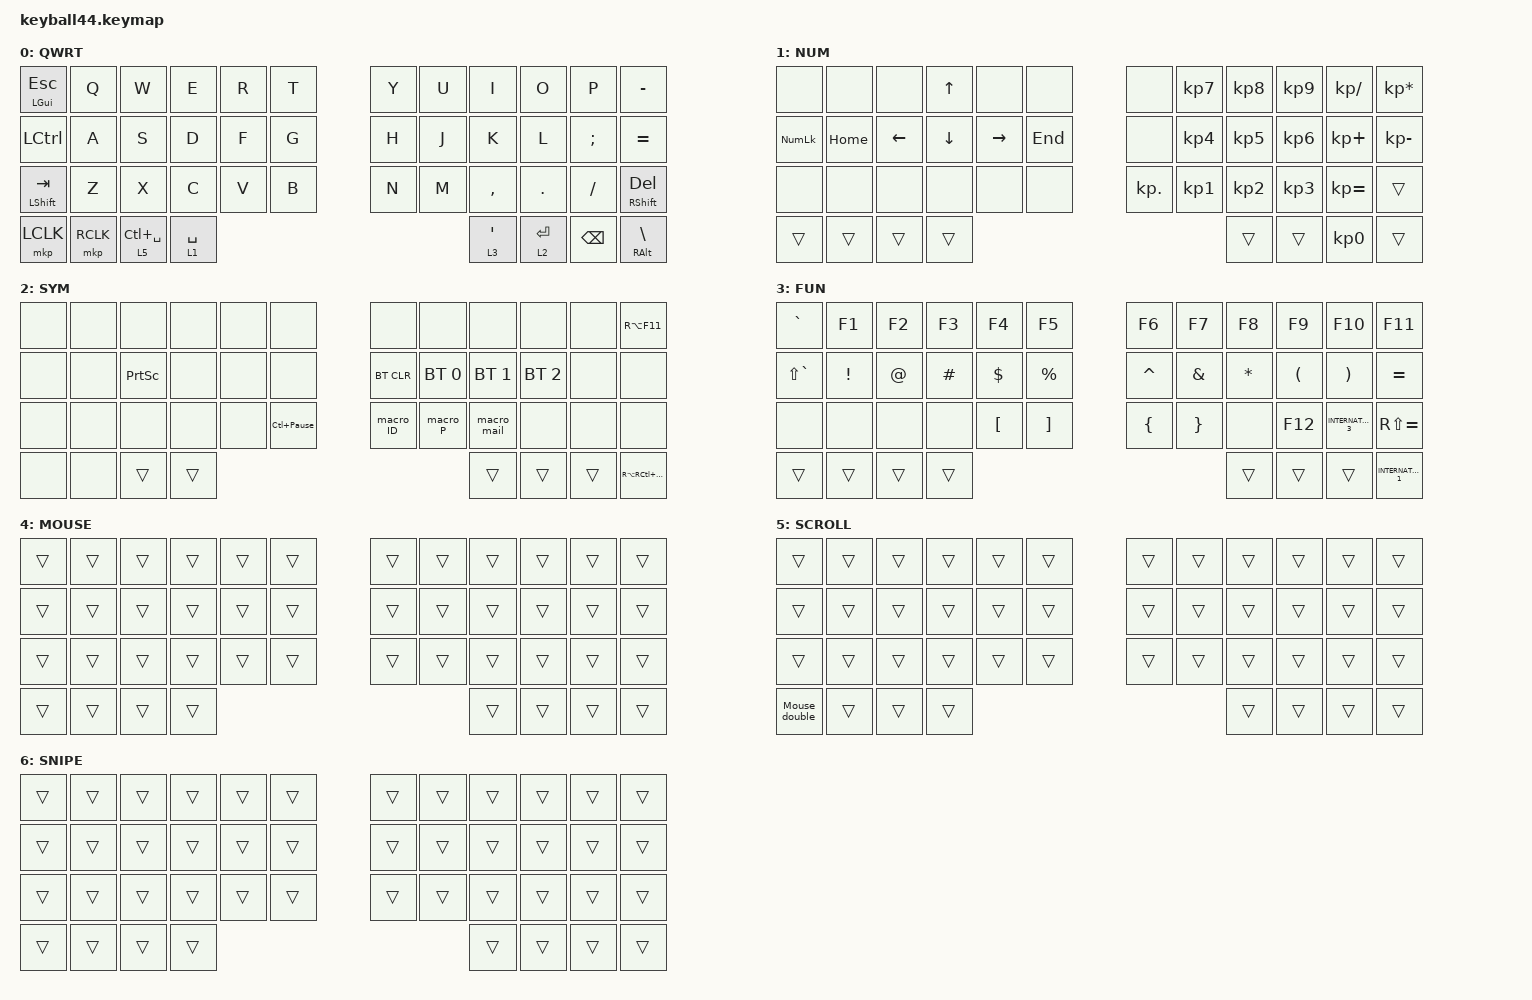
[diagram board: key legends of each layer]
#define DEFAULT 0
#define NUM     1
#define SYM     2
#define FUN     3
#define MOUSE   4
#define SCROLL  5
#define SNIPE   6

#include <behaviors/mouse_keys.dtsi>
#include <dt-bindings/zmk/mouse.h>
#include <input/processors.dtsi>
#include <behaviors.dtsi>
#include <dt-bindings/zmk/bt.h>
#include <dt-bindings/zmk/keys.h>
#include <dt-bindings/zmk/pointing.h>

&mkp_input_listener { input-processors = <&zip_temp_layer MOUSE 200>; };

&lt {
    tapping-term-ms = <240>;
    flavor = "balanced";
    quick-tap-ms = <150>;
};

&mt {
    //tapping-term-ms = <200>;

    tapping-term-ms = <200>;
    flavor = "tap-preferred";
    quick-tap-ms = <150>;
};

&caps_word { continue-list = <UNDERSCORE MINUS>; };

/ {
    // custom shift using mod-morph 

    behaviors {
        cmqus: comma_question {
            compatible = "zmk,behavior-mod-morph";
            label = "COMMA_QUESTION";
            #binding-cells = <0>;
            bindings = <&kp COMMA>, <&kp QUESTION>;

            mods = <(MOD_LSFT|MOD_RSFT)>;
        };

        dtsmi: dot_semi {
            compatible = "zmk,behavior-mod-morph";
            label = "DOT_SEMI";
            #binding-cells = <0>;
            bindings = <&kp DOT>, <&kp SEMI>;

            mods = <(MOD_LSFT|MOD_RSFT)>;
        };
    };

    macros {
        macro_ID: macro1 {
            compatible = "zmk,behavior-macro";
            #binding-cells = <0>;
            bindings = <&kp N9 &kp N0 &kp N0 &kp N4 &kp N0 &kp N5 &kp N0 &kp N4 &kp N7 &kp N3 &kp TAB>;
            label = "MACRO1";
        };

        macro_P: macro2 {
            compatible = "zmk,behavior-macro";
            #binding-cells = <0>;
            bindings = <&kp N0 &kp N7 &kp N4 &kp N8 &kp N7 &kp N7 &kp N5 &kp N9 &kp LS(B) &kp I &kp Y &kp O &kp U &kp G &kp A &kp RET>;
            label = "MACRO2";
        };

        Mouse_double: Mouse_macro1 {
            compatible = "zmk,behavior-macro";
            #binding-cells = <0>;
            bindings =
                <&mkp LCLK>,
                <&macro_wait_time 100>,
                <&mkp LCLK>,
                <&macro_wait_time 100>;

            label = "MOUSE_MACRO1";
        };

        macro_hankaku_eng: macro_hankaku_eng {
            compatible = "zmk,behavior-macro";
            #binding-cells = <0>;
            bindings = <&kp F9 &kp F8>;
            label = "MACRO_HANKAKU_ENG";
        };

        macro_hankaku_kana: macro_hankaku_kana {
            compatible = "zmk,behavior-macro";
            #binding-cells = <0>;
            bindings = <&kp F7 &kp F8>;
            label = "MACRO_HANKAKU_KANA";
        };

        macro_parenthesis: macro_parenthesis {
            compatible = "zmk,behavior-macro";
            #binding-cells = <0>;
            bindings = <&kp LEFT_PARENTHESIS &kp RIGHT_PARENTHESIS>;
            label = "MACRO_PARENTHESIS";
        };

        macro_brace: macro_brace {
            compatible = "zmk,behavior-macro";
            #binding-cells = <0>;
            bindings = <&kp LEFT_BRACE &kp RIGHT_BRACE>;
            label = "MACRO_BRACE";
        };

        macro_bracket: macro_bracket {
            compatible = "zmk,behavior-macro";
            #binding-cells = <0>;
            bindings = <&kp LEFT_BRACKET &kp RIGHT_BRACKET>;
            label = "MACRO_BRACKET";
        };

        macro_mail: macro_mail {
            compatible = "zmk,behavior-macro";
            #binding-cells = <0>;
            bindings = <&kp T &kp E &kp R &kp U &kp Y &kp U &kp K &kp I &kp DOT &kp B &kp DOT &kp K &kp I &kp J &kp I &kp M &kp A &kp AT &kp S &kp O &kp N &kp Y &kp DOT &kp C &kp O &kp M &kp TAB>;
            label = "MACRO_MAIL";
        };
    };

    combos {
        compatible = "zmk,combos";

        combo_hankaku_eng {
            bindings = <&macro_hankaku_eng>;
            key-positions = <8 9>;
        };

        combo_hankaku_kana {
            bindings = <&macro_hankaku_kana>;
            key-positions = <7 8>;
        };

        combo_parenthesis {
            bindings = <&macro_parenthesis>;
            key-positions = <21 22>;
        };

        combo_brace {
            bindings = <&macro_brace>;
            key-positions = <30 31>;
        };

        combo_bracket {
            bindings = <&macro_bracket>;
            key-positions = <28 29>;
        };

        mouse_double_click {
            bindings = <&Mouse_double>;
            key-positions = <36 37>;
        };
    };

    keymap {
        compatible = "zmk,keymap";

        default_layer {
            label = "QWRT";
            bindings = <
&mt LEFT_GUI ESCAPE  &kp Q      &kp W            &kp E        &kp R       &kp T                    &kp Y          &kp U  &kp I      &kp O    &kp P      &kp MINUS
&kp LCTRL            &kp A      &kp S            &kp D        &kp F       &kp G                    &kp H          &kp J  &kp K      &kp L    &kp SEMI   &kp EQUAL
&mt LSHIFT TAB       &kp Z      &kp X            &kp C        &kp V       &kp B                    &kp N          &kp M  &kp COMMA  &kp DOT  &kp SLASH  &mt RSHIFT DELETE
&mkp LCLK            &mkp RCLK  &lt 5 LC(SPACE)  &lt 1 SPACE  &lt 3 APOS             &lt 2 RETURN  &kp BACKSPACE                                        &mt RALT BACKSLASH
            >;
        };

        number_layer {
            label = "NUM";
            bindings = <
&none           &none     &none     &kp UP_ARROW  &none      &none                &none            &kp KP_N7        &kp KP_N8  &kp KP_N9  &kp KP_DIVIDE  &kp KP_ASTERISK
&kp KP_NUMLOCK  &kp HOME  &kp LEFT  &kp DOWN      &kp RIGHT  &kp END              &none            &kp KP_N4        &kp KP_N5  &kp KP_N6  &kp KP_PLUS    &kp KP_MINUS
&none           &none     &none     &none         &none      &none                &kp KP_DOT       &kp KP_NUMBER_1  &kp KP_N2  &kp KP_N3  &kp KP_EQUAL   &trans
&trans          &trans    &trans    &trans        &trans                  &trans  &kp KP_NUMBER_0                                                        &trans
            >;
        };

        symbol_layer {
            label = "SYM";
            bindings = <
&none  &none  &none            &none   &none   &none                            &none       &none         &none         &none         &none  &kp RA(F11)
&none  &none  &kp PRINTSCREEN  &none   &none   &none                            &bt BT_CLR  &bt BT_SEL 0  &bt BT_SEL 1  &bt BT_SEL 2  &none  &none
&none  &none  &none            &none   &none   &kp LC(PAUSE_BREAK)              &macro_ID   &macro_P      &macro_mail   &none         &none  &none
&none  &none  &trans           &trans  &trans                           &trans  &trans                                                       &kp RA(RC(DELETE))
            >;
        };

        function_layer {
            label = "FUN";
            bindings = <
&kp GRAVE      &kp F1    &kp F2  &kp F3    &kp F4            &kp F5                         &kp F6          &kp F7           &kp F8     &kp F9                &kp F10                &kp F11
&kp LS(GRAVE)  &kp EXCL  &kp AT  &kp HASH  &kp DOLLAR        &kp PERCENT                    &kp CARET       &kp AMPERSAND    &kp ASTRK  &kp LEFT_PARENTHESIS  &kp RIGHT_PARENTHESIS  &kp EQUAL
&none          &none     &none   &none     &kp LEFT_BRACKET  &kp RIGHT_BRACKET              &kp LEFT_BRACE  &kp RIGHT_BRACE  &none      &kp F12               &kp INTERNATIONAL_3    &kp RS(EQUAL)
&trans         &trans    &trans  &trans    &trans                                   &trans  &trans                                                                                   &kp INTERNATIONAL_1
            >;
        };

        mouse_layer {
            label = "MOUSE";
            bindings = <
&trans  &trans  &trans  &trans  &trans  &trans              &trans  &trans  &trans  &trans  &trans  &trans
&trans  &trans  &trans  &trans  &trans  &trans              &trans  &trans  &trans  &trans  &trans  &trans
&trans  &trans  &trans  &trans  &trans  &trans              &trans  &trans  &trans  &trans  &trans  &trans
&trans  &trans  &trans  &trans  &trans              &trans  &trans                                  &trans
            >;
        };

        scroll_layer {
            label = "SCROLL";
            bindings = <
&trans         &trans  &trans  &trans  &trans  &trans              &trans  &trans  &trans  &trans  &trans  &trans
&trans         &trans  &trans  &trans  &trans  &trans              &trans  &trans  &trans  &trans  &trans  &trans
&trans         &trans  &trans  &trans  &trans  &trans              &trans  &trans  &trans  &trans  &trans  &trans
&Mouse_double  &trans  &trans  &trans  &trans              &trans  &trans                                  &trans
            >;
        };

        snipe_layer {
            label = "SNIPE";
            bindings = <
&trans  &trans  &trans  &trans  &trans  &trans              &trans  &trans  &trans  &trans  &trans  &trans
&trans  &trans  &trans  &trans  &trans  &trans              &trans  &trans  &trans  &trans  &trans  &trans
&trans  &trans  &trans  &trans  &trans  &trans              &trans  &trans  &trans  &trans  &trans  &trans
&trans  &trans  &trans  &trans  &trans              &trans  &trans                                  &trans
            >;
        };
    };
};
